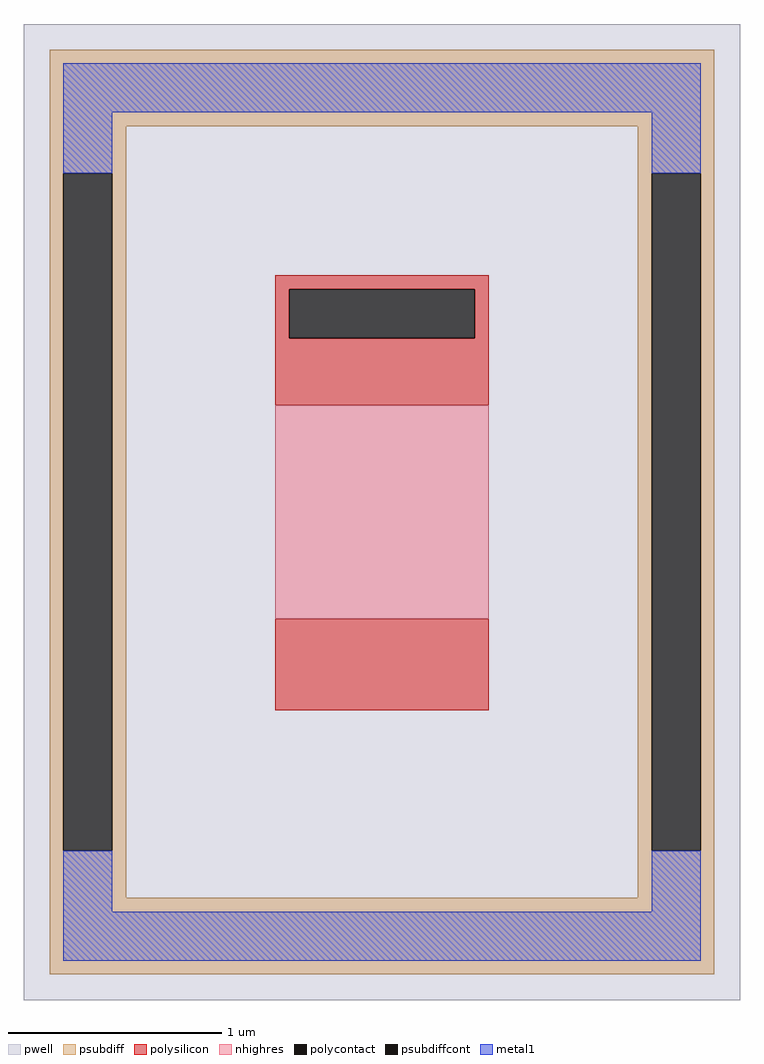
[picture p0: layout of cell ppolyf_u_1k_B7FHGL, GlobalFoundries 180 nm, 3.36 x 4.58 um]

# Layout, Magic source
magic
tech gf180mcuD
magscale 1 10
<< pwell >>
rect -336 -458 336 458
<< psubdiff >>
rect -312 362 312 434
rect -312 318 -240 362
rect -312 -318 -299 318
rect -253 -318 -240 318
rect 240 318 312 362
rect -312 -362 -240 -318
rect 240 -318 253 318
rect 299 -318 312 318
rect 240 -362 312 -318
rect -312 -434 312 -362
<< psubdiffcont >>
rect -299 -318 -253 318
rect 253 -318 299 318
<< polysilicon >>
rect -100 209 100 222
rect -100 163 -87 209
rect 87 163 100 209
rect -100 100 100 163
rect -100 -186 100 -100
<< polycontact >>
rect -87 163 87 209
<< nhighres >>
rect -100 -100 100 100
<< metal1 >>
rect -299 375 299 421
rect -299 318 -253 375
rect 253 318 299 375
rect -299 -375 -253 -318
rect 253 -375 299 -318
rect -299 -421 299 -375
<< properties >>
string FIXED_BBOX -276 -398 276 398
string gencell ppolyf_u_1k
string library gf180mcu
string parameters w 1.0 l 1.0 m 1 nx 1 wmin 1.000 lmin 1.000 class resistor rho 1000 val 1.0k dummy 0 dw 0.0 term 0.0 sterm 0.0 caplen 0.4 snake 0 glc 1 grc 1 gtc 0 gbc 0 roverlap 0 endcov 100 full_metal 1 compatible {ppolyf_u_1k ppolyf_u_1k_6p0}
<< end >>
